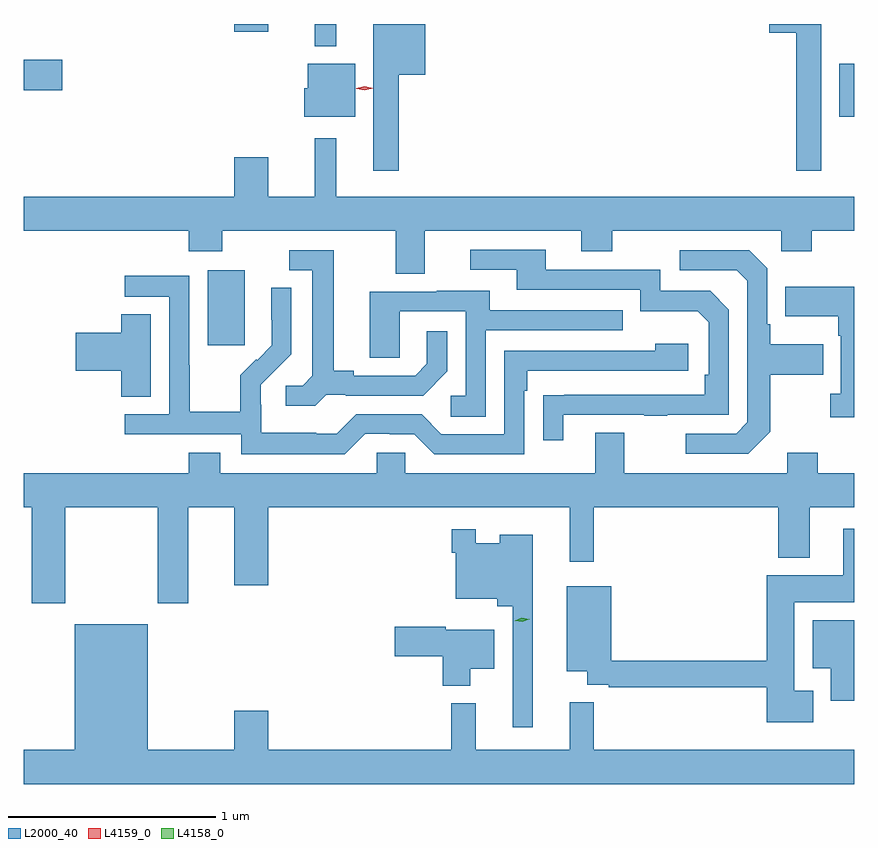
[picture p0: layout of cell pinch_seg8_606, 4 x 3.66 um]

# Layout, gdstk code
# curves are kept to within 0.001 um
import gdstk
lib = gdstk.Library(unit=1e-6, precision=1e-09)
def R(c, l, rs):  # rectangles x0, y0, x1, y1
    for r in rs: c.add(gdstk.rectangle(r[:2], r[2:], *l))
def P(c, l, *ps):  # polygons
    for p in ps: c.add(gdstk.Polygon(p, *l))
L2000_40 = (2000, 40)
L4158_0 = (4158, 0)
L4159_0 = (4159, 0)

pinch_seg8_606 = lib.new_cell('pinch_seg8_606')
R(pinch_seg8_606, L2000_40, [(200.843,1095.969,201.022,1096.33), (203.885,1097.069,203.957,1097.323), (199.957,1097.195,200.143,1097.342), (201.359,1097.408,201.463,1097.515), (200.972,1097.478,201.136,1097.515)])
P(pinch_seg8_606, L2000_40, [(203.797,1097.515),(203.546,1097.515),(203.546,1097.474),(203.676,1097.474),(203.676,1096.809),(203.797,1096.809)],
  [(201.763,1097.27),(201.892,1097.27),(201.892,1097.515),(201.641,1097.515),(201.641,1096.809),(201.763,1096.809)],
  [(201.553,1097.323),(201.326,1097.323),(201.326,1097.205),(201.308,1097.205),(201.308,1097.069),(201.553,1097.069)],
  [(201.889,1096.52),(202.643,1096.52),(202.643,1096.421),(202.791,1096.421),(202.791,1096.52),(203.604,1096.52),(203.604,1096.421),(203.751,1096.421),(203.751,1096.52),(203.957,1096.52),(203.957,1096.684),(201.463,1096.684),(201.463,1096.966),(201.359,1096.966),(201.359,1096.684),(201.136,1096.684),(201.136,1096.873),(200.972,1096.873),(200.972,1096.684),(199.957,1096.684),(199.957,1096.52),(200.753,1096.52),(200.753,1096.421),(200.913,1096.421),(200.913,1096.52),(201.749,1096.52),(201.749,1096.312),(201.889,1096.312)],
  [(202.555,1095.633),(202.945,1095.633),(202.945,1095.628),(203.057,1095.628),(203.057,1095.633),(203.352,1095.633),(203.352,1096.14),(203.262,1096.23),(203.022,1096.23),(203.022,1096.332),(202.471,1096.332),(202.471,1096.428),(202.107,1096.428),(202.107,1096.332),(202.331,1096.332),(202.331,1096.236),(202.926,1096.236),(202.926,1096.133),(203.203,1096.133),(203.256,1096.08),(203.256,1095.826),(203.236,1095.826),(203.236,1095.729),(202.459,1095.728),(202.459,1095.51),(202.555,1095.51)],
  [(203.551,1095.553),(203.551,1095.826),(203.807,1095.826),(203.807,1095.973),(203.551,1095.973),(203.551,1096.069),(203.538,1096.069),(203.538,1096.338),(203.451,1096.425),(203.115,1096.425),(203.115,1096.329),(203.391,1096.329),(203.442,1096.278),(203.442,1095.597),(203.388,1095.543),(203.145,1095.543),(203.145,1095.447),(203.445,1095.447)],
  [(201.414,1095.729),(201.508,1095.729),(201.508,1095.726),(201.88,1095.726),(201.996,1095.842),(201.996,1096.036),(201.899,1096.036),(201.899,1095.879),(201.842,1095.822),(201.547,1095.822),(201.547,1095.845),(201.451,1095.845),(201.451,1096.425),(201.237,1096.425),(201.237,1096.329),(201.347,1096.329),(201.347,1095.821),(201.3,1095.774),(201.219,1095.774),(201.219,1095.677),(201.362,1095.677)],
  [(201.603,1095.543),(201.719,1095.543),(201.719,1095.54),(201.837,1095.54),(201.933,1095.444),(202.368,1095.444),(202.368,1095.749),(202.381,1095.749),(202.381,1095.846),(203.158,1095.846),(203.158,1095.976),(202.997,1095.976),(202.997,1095.942),(202.272,1095.942),(202.272,1095.54),(201.969,1095.54),(201.873,1095.636),(201.558,1095.636),(201.465,1095.543),(201.365,1095.543),(201.365,1095.547),(201.102,1095.547),(201.102,1095.681),(201.1,1095.681),(201.1,1095.778),(201.246,1095.926),(201.246,1096.244),(201.15,1096.244),(201.15,1096.09),(201.152,1096.09),(201.152,1095.968),(201.081,1095.897),(201.078,1095.9),(201.001,1095.823),(201.001,1095.649),(200.757,1095.649),(200.757,1095.872),(200.754,1095.872),(200.754,1096.302),(200.445,1096.302),(200.445,1096.203),(200.658,1096.203),(200.658,1095.636),(200.445,1095.636),(200.445,1095.54),(201.006,1095.54),(201.006,1095.443),(201.503,1095.443)],
  [(203.957,1096.249),(203.623,1096.249),(203.623,1096.109),(203.88,1096.109),(203.88,1096.013),(203.892,1096.013),(203.892,1095.734),(203.841,1095.734),(203.841,1095.621),(203.957,1095.621)],
  [(202.182,1096.041),(202.841,1096.041),(202.841,1096.137),(202.201,1096.137),(202.201,1096.231),(201.947,1096.231),(201.947,1096.227),(201.623,1096.227),(201.623,1095.907),(201.768,1095.907),(201.768,1096.131),(202.086,1096.131),(202.086,1095.726),(202.014,1095.726),(202.014,1095.625),(202.182,1095.625)],
  [(200.569,1096.118),(200.426,1096.118),(200.426,1096.028),(200.208,1096.028),(200.208,1095.845),(200.426,1095.845),(200.426,1095.721),(200.569,1095.721)],
  [(200.905,1095.451),(200.753,1095.451),(200.753,1095.352),(199.957,1095.352),(199.957,1095.188),(199.997,1095.188),(199.997,1094.727),(200.157,1094.727),(200.157,1095.188),(200.602,1095.188),(200.602,1094.727),(200.749,1094.727),(200.749,1095.188),(200.972,1095.188),(200.972,1094.814),(201.136,1094.814),(201.136,1095.188),(202.586,1095.188),(202.586,1094.925),(202.703,1094.925),(202.703,1095.188),(203.591,1095.188),(203.591,1094.945),(203.743,1094.945),(203.743,1095.188),(203.957,1095.188),(203.957,1095.352),(203.781,1095.352),(203.781,1095.451),(203.633,1095.451),(203.633,1095.352),(202.849,1095.352),(202.849,1095.547),(202.709,1095.547),(202.709,1095.352),(201.795,1095.352),(201.795,1095.45),(201.657,1095.45),(201.657,1095.352),(200.905,1095.352)],
  [(203.758,1094.305),(203.668,1094.305),(203.668,1094.732),(203.957,1094.732),(203.957,1095.085),(203.903,1095.085),(203.903,1094.86),(203.534,1094.86),(203.534,1094.45),(202.786,1094.45),(202.786,1094.809),(202.571,1094.809),(202.571,1094.399),(202.67,1094.399),(202.67,1094.334),(202.774,1094.334),(202.774,1094.322),(203.534,1094.322),(203.534,1094.153),(203.758,1094.153)],
  [(202.408,1095.055),(202.25,1095.055),(202.25,1095.016),(202.134,1095.016),(202.134,1095.082),(202.018,1095.082),(202.018,1094.969),(202.038,1094.969),(202.038,1094.747),(202.238,1094.747),(202.238,1094.711),(202.311,1094.711),(202.311,1094.13),(202.408,1094.13)],
  [(203.957,1094.644),(203.756,1094.644),(203.756,1094.414),(203.843,1094.414),(203.843,1094.256),(203.957,1094.256)],
  [(203.957,1094.02),(202.703,1094.02),(202.703,1094.249),(202.586,1094.249),(202.586,1094.02),(202.133,1094.02),(202.133,1094.245),(202.015,1094.245),(202.015,1094.02),(201.136,1094.02),(201.136,1094.209),(200.972,1094.209),(200.972,1094.02),(200.554,1094.02),(200.554,1094.626),(200.204,1094.626),(200.204,1094.02),(199.957,1094.02),(199.957,1093.856),(203.957,1093.856)],
  [(202.108,1094.411),(202.222,1094.411),(202.222,1094.599),(201.99,1094.599),(201.99,1094.612),(201.744,1094.612),(201.744,1094.47),(201.974,1094.47),(201.974,1094.33),(202.108,1094.33)])
P(pinch_seg8_606, L4158_0, [(202.358,1094.636),(202.322,1094.643),(202.321,1094.643),(202.322,1094.643),(202.356,1094.656),(202.392,1094.648),(202.393,1094.648),(202.392,1094.648)])
P(pinch_seg8_606, L4159_0, [(201.6,1097.195),(201.559,1097.204),(201.559,1097.204),(201.559,1097.205),(201.6,1097.215),(201.641,1097.206),(201.641,1097.206),(201.641,1097.206)])

lib.write_gds('pinch_seg8_606.gds')
